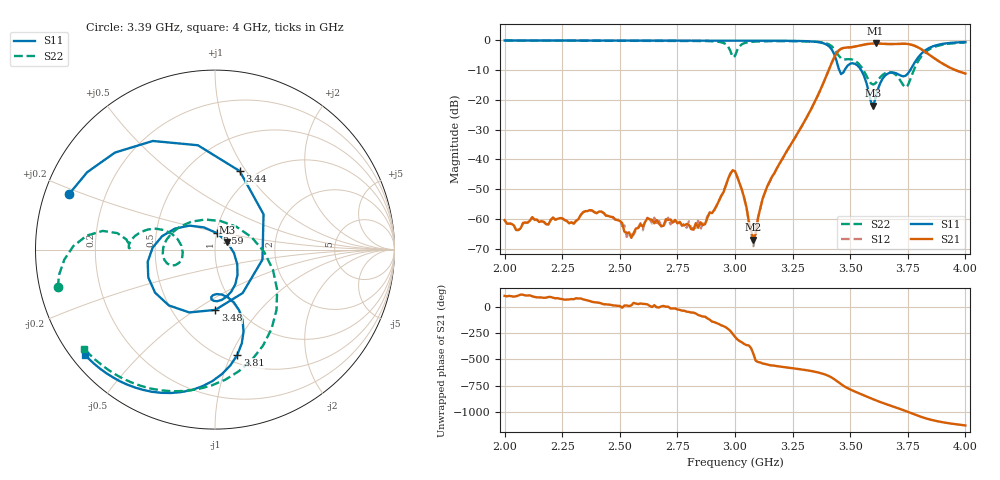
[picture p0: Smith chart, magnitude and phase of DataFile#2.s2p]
! 3/9/2023 9:26:57 AM
! D:\FILTRO\DATAFILE#2.S2P
! CHANNEL.1
! TR.MEASUREMENT
! CORRECTED.DATA
! RF.CORRECTION: FULL.TWO.PORT.CAL.PORT.1.2
! AVERAGING.OFF
! IF.BANDWIDTH: 1KHZ
! SWEEPTYPE:  FREQ.SWEEP(Linear)
! Reference Plane Port Info
! PORT:  PORT1  PORT2
! DISTANCE:  0  m  0  m
! TIME:  0  s  0  s
! PHASE.OFFSET:  0 deg  0 deg
! LOSS:  0  dB  0  dB
! REF.LOSS:  0  dB  0  dB
! REF.FREQ:  0  Hz  0  Hz
! Power Info
! POWER:  5  dBm  5  dBm
! EFF.POWER:  5  dBm  5  dBm
! SOURCE.ATTEN:  0  dB  0  dB
! TEST.ATTEN:  0  dB  0  dB
# GHZ S RI R 50.0
! FREQ.GHZ  S11RE  S11IM  S21RE  S21IM  S12RE  S12IM  S22RE  S22IM
!; PortSelection: Port_12
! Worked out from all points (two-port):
!   201 points, 2 GHz to 4 GHz, reference 50 ohm
!   highest |S21| = -1.09 dB at 3.61 GHz (marker M1); lowest = -66.9 dB at 3.08 GHz (marker M2)
!   |S21| within 3 dB of the highest: 3.444 GHz to 3.829 GHz (385.3 MHz wide, 10.6 % of centre)
!   lowest |S11| = -22.0 dB at 3.6 GHz (marker M3), VSWR 1.17, Z = 57 + j4.83 ohm
!   |S11| at or under -10 dB: 3.453 GHz to 3.476 GHz (23.52 MHz wide, 0.679 % of centre); 3.547 GHz to 3.761 GHz (213.7 MHz wide, 5.85 % of centre)
!   |S22| runs from -15.8 to -0.1 dB; largest |S21 - S12| = 0.0039
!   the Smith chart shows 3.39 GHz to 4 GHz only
!   S11 on the Smith chart (normalised r, x): 3.39 GHz: 0.07, +0.18; 3.44 GHz: 0.84, +0.94; 3.48 GHz: 0.80, -0.61; 3.59 GHz: 1.00, +0.19; 3.81 GHz: 0.58, -1.06; 4 GHz: 0.04, -0.35
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2  0.945 0.295  -0.000281 0.000914  -0.000281 0.00092  0.9491 0.263
2.34  0.9525 -0.2669  0.00035 0.00124  0.000358 0.00124  0.9314 -0.3144
2.53  0.8051 -0.5729  0.00056 0.000151  0.000497 4.84e-05  0.761 -0.619
2.67  0.6232 -0.766  0.000835 -5.96e-05  0.000934 -2.31e-05  0.5594 -0.804
2.85  0.3033 -0.9395  0.000112 -0.00087  -9.4e-06 -0.000665  0.1927 -0.9527
2.97  0.039 -0.9861  -0.00412 0.00228  -0.00409 0.00219  -0.2339 -0.749
3  -0.0331 -0.9862  0.00154 0.00616  0.00154 0.00605  0.0823 -0.5393
3.08  -0.2362 -0.9573  1.65e-05 -0.000451  1.98e-05 -0.000349  -0.1076 -0.9397
3.14  -0.3997 -0.9  -0.00349 0.000522  -0.00344 0.000505  -0.2983 -0.9146
3.34  -0.9256 -0.2082  -0.0224 0.0797  -0.0222 0.0791  -0.8133 -0.487
3.39  -0.8148 0.3072  0.0492 0.2129  0.0498 0.2139  -0.8769 -0.2102
3.44  0.1376 0.4376  0.5723 0.176  0.572 0.1765  -0.6251 0.1041
3.48  0.00148 -0.336  0.5418 -0.5198  0.5407 -0.5202  -0.4766 0.00717
3.53  -0.3751 -0.0682  -0.0772 -0.7925  -0.0778 -0.7886  -0.4141 0.0976
3.59  0.0103 0.0917  -0.7668 -0.4232  -0.7698 -0.4215  -0.187 0.0214
3.6  0.0675 0.0421  -0.828 -0.2995  -0.8286 -0.2963  -0.1795 -0.0155
3.61  0.1058 -0.0189  -0.8652 -0.1694  -0.8635 -0.1672  -0.1837 -0.0489
3.67  0.0372 -0.2804  -0.6896 0.5177  -0.6876 0.5185  -0.2911 -0.0264
3.74  0.0366 -0.2502  0.0205 0.8713  0.0207 0.869  0.0309 0.1593
3.81  0.124 -0.5869  0.6023 0.3563  0.6015 0.3564  0.315 -0.4419
3.88  -0.2444 -0.7988  0.448 -0.0812  0.447 -0.0815  -0.1674 -0.7877
4  -0.724 -0.5863  0.1777 -0.2105  0.1782 -0.21  -0.7278 -0.5533
